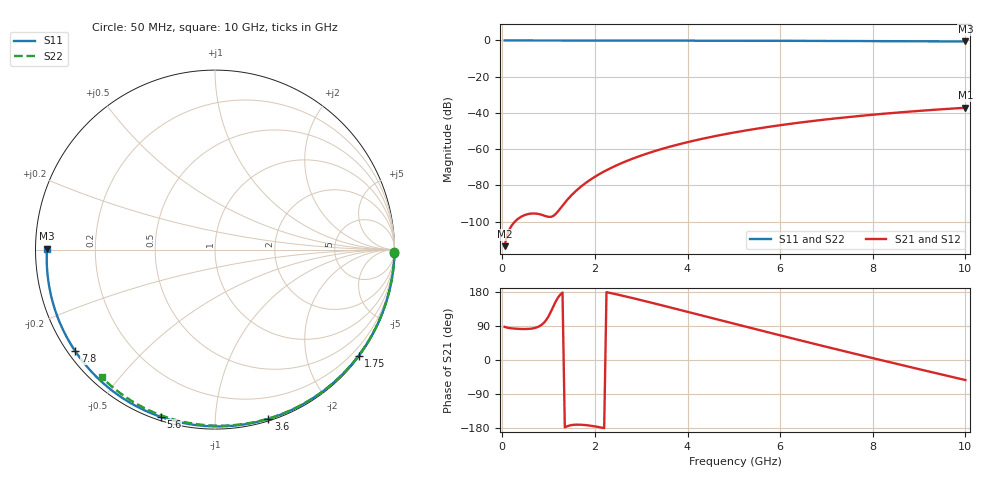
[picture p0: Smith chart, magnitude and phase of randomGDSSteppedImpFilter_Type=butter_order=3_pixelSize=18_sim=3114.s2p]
! freq	dB(S11)	phase(S11)	dB(S12)	phase(S12)
!  dB(S21)	phase(S21)	dB(S22)	phase(S22)
!S-par simulation data
#  GHz  S  DB  R 50
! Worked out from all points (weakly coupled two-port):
!   200 points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, 50 MHz to 10 GHz, reference 50 ohm
!   highest |S21| = -37.16 dB at 10 GHz (marker M1); lowest = -113.6 dB at 50 MHz (marker M2)
!   lowest |S11| = -0.6 dB at 10 GHz (marker M3), VSWR 30.44, Z = 1.64 + j0.119 ohm
!   |S11| at or under -10 dB: nowhere
!   |S22| runs from -0.4 to 0.0 dB; largest |S21 - S12| = 0
!   S11 on the Smith chart (normalised r, x): 50 MHz: open; 1.75 GHz: 0.03, -3.04; 3.6 GHz: 0.02, -1.36; 5.6 GHz: 0.02, -0.73; 7.8 GHz: 0.02, -0.33; 10 GHz: 0.03, +0.00
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0.05  -0.00 -1.1  -113.60 87.4  -113.60 87.4  -0.00 -0.8
0.45  -0.01 -9.5  -96.79 81.7  -96.79 81.7  -0.01 -6.8
0.85  -0.02 -17.9  -96.26 93.0  -96.26 93.0  -0.02 -12.9
1.25  -0.03 -26.2  -92.86 172.3  -92.86 172.3  -0.02 -18.8
1.7  -0.04 -35.4  -80.68 -170.8  -80.68 -170.8  -0.03 -25.5
1.75  -0.05 -36.4  -79.67 -171.2  -79.67 -171.2  -0.03 -26.2
2.05  -0.05 -42.5  -74.50 -176.3  -74.50 -176.3  -0.04 -30.6
2.25  -0.06 -46.5  -71.66 179.0  -71.66 179.0  -0.04 -33.5
2.45  -0.06 -50.4  -69.17 173.8  -69.17 173.8  -0.05 -36.4
2.9  -0.08 -59.2  -64.46 160.9  -64.46 160.9  -0.06 -42.9
3.4  -0.09 -68.7  -60.26 145.7  -60.26 145.7  -0.07 -49.9
3.6  -0.10 -72.5  -58.79 139.6  -58.79 139.6  -0.07 -52.7
4.3  -0.12 -85.3  -54.40 117.8  -54.40 117.8  -0.09 -62.3
5.05  -0.15 -98.5  -50.62 94.4  -50.62 94.4  -0.11 -72.3
5.6  -0.18 -107.9  -48.30 77.4  -48.30 77.4  -0.13 -79.4
6.15  -0.21 -117.1  -46.27 60.5  -46.27 60.5  -0.15 -86.3
6.7  -0.24 -126.1  -44.48 43.8  -44.48 43.8  -0.18 -93.1
7.25  -0.28 -135.1  -42.89 27.2  -42.89 27.2  -0.21 -99.8
7.8  -0.33 -144.0  -41.48 10.9  -41.48 10.9  -0.25 -106.3
8.35  -0.38 -152.9  -40.21 -5.3  -40.21 -5.3  -0.29 -112.7
9.2  -0.47 -166.8  -38.51 -30.0  -38.51 -30.0  -0.36 -122.5
10  -0.57 179.7  -37.16 -52.9  -37.16 -52.9  -0.44 -131.5
